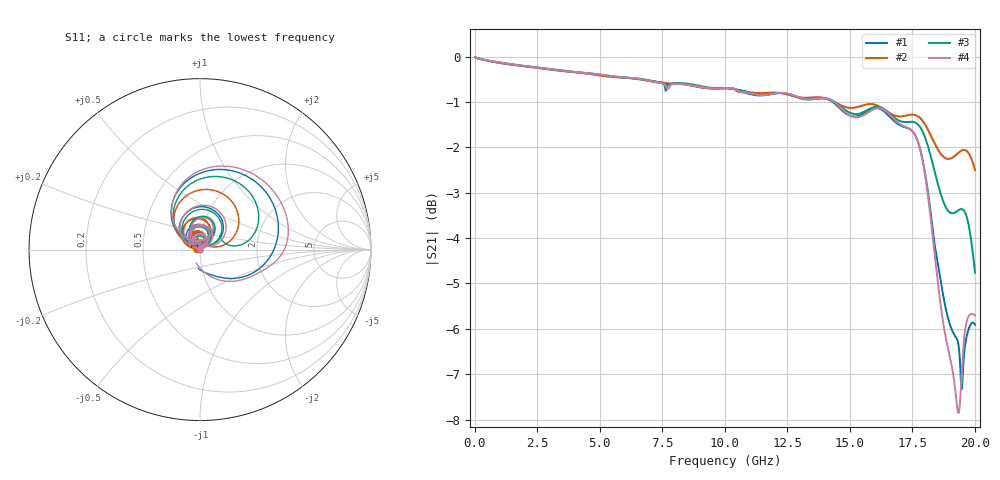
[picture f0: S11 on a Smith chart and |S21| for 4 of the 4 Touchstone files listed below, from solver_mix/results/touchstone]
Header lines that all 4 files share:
! HFSS adaptive-range study - 40 x 12 mm 5-layer stripline coupon
! with a signal via transition at mid-board
! Sweep: interpolating 10 MHz - 20 GHz, 25 MHz step, 4 cores
# GHz S MA R 50.000000
! Terminal data exported
! Port[1] = U1.PAD1.SIG
! Port[2] = U2.PAD1.SIG
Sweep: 10 MHz to 20 GHz
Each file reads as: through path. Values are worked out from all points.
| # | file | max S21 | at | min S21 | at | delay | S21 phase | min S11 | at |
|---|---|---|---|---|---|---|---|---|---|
| 1 | adaptive_bb_1_20.s2p | -0.01 dB | 10 MHz | -7.3 dB | 19.46 GHz | 265 ps | 130 deg at 10.01 GHz | -62.5 dB | 2.51 GHz |
| 2 | adaptive_bkm_bb_1_10.s2p | -0.01 dB | 10 MHz | -2.5 dB | 20 GHz | 266 ps | 128 deg at 10.01 GHz | -81.6 dB | 2.235 GHz |
| 3 | adaptive_single_10.s2p | -0.01 dB | 10 MHz | -4.8 dB | 20 GHz | 265 ps | 131 deg at 10.01 GHz | -69.6 dB | 2.66 GHz |
| 4 | adaptive_single_20.s2p | -0.01 dB | 10 MHz | -7.9 dB | 19.34 GHz | 265 ps | 131 deg at 10.01 GHz | -60.7 dB | 4.71 GHz |
